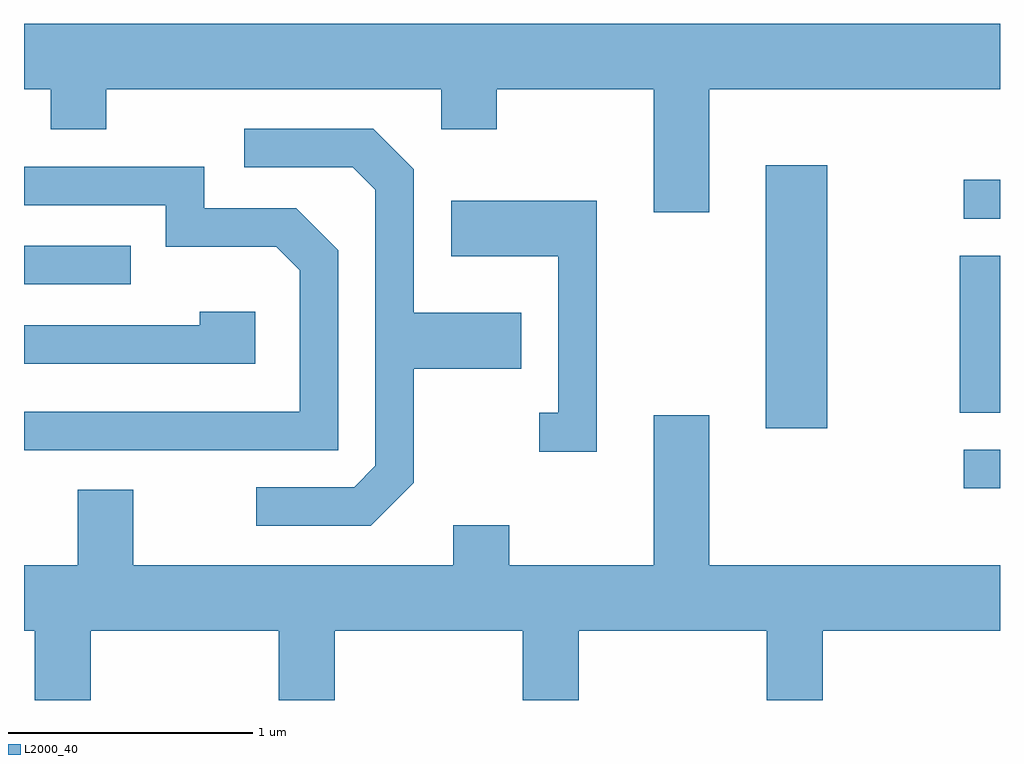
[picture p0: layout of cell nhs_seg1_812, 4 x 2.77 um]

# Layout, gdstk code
import gdstk
lib = gdstk.Library(unit=1e-6, precision=1e-09)
def R(c, l, rs):  # rectangles x0, y0, x1, y1
    for r in rs: c.add(gdstk.rectangle(r[:2], r[2:], *l))
def P(c, l, *ps):  # polygons
    for p in ps: c.add(gdstk.Polygon(p, *l))
L2000_40 = (2000, 40)

nhs_seg1_812 = lib.new_cell('nhs_seg1_812')
R(nhs_seg1_812, L2000_40, [(213.463,924.581,213.611,924.739), (212.651,924.826,212.904,925.904), (213.446,924.891,213.611,925.534), (209.611,925.416,210.048,925.574), (213.463,925.686,213.611,925.844)])
P(nhs_seg1_812, L2000_40, [(212.419,926.216),(213.611,926.216),(213.611,926.484),(209.611,926.484),(209.611,926.216),(209.721,926.216),(209.721,926.051),(209.949,926.051),(209.949,926.216),(211.321,926.216),(211.321,926.051),(211.549,926.051),(211.549,926.216),(212.191,926.216),(212.191,925.711),(212.419,925.711)],
  [(211.209,924.604),(211.209,925.071),(211.649,925.071),(211.649,925.299),(211.209,925.299),(211.209,925.887),(211.042,926.054),(210.513,926.054),(210.513,925.896),(210.959,925.896),(211.051,925.804),(211.051,924.672),(210.964,924.584),(210.563,924.584),(210.563,924.426),(211.032,924.426)],
  [(210.899,925.557),(210.727,925.729),(210.349,925.729),(210.349,925.899),(209.611,925.899),(209.611,925.741),(210.191,925.741),(210.191,925.571),(210.644,925.571),(210.741,925.474),(210.741,924.894),(209.611,924.894),(209.611,924.736),(210.899,924.736)],
  [(211.959,925.759),(211.361,925.759),(211.361,925.531),(211.801,925.531),(211.801,924.889),(211.723,924.889),(211.723,924.731),(211.959,924.731)],
  [(210.559,925.304),(210.331,925.304),(210.331,925.249),(209.611,925.249),(209.611,925.091),(210.559,925.091)],
  [(209.884,923.996),(210.656,923.996),(210.656,923.712),(210.884,923.712),(210.884,923.996),(211.656,923.996),(211.656,923.712),(211.884,923.712),(211.884,923.996),(212.656,923.996),(212.656,923.712),(212.884,923.712),(212.884,923.996),(213.611,923.996),(213.611,924.264),(212.419,924.264),(212.419,924.879),(212.191,924.879),(212.191,924.264),(211.599,924.264),(211.599,924.429),(211.371,924.429),(211.371,924.264),(210.059,924.264),(210.059,924.574),(209.831,924.574),(209.831,924.264),(209.611,924.264),(209.611,923.996),(209.656,923.996),(209.656,923.712),(209.884,923.712)])

lib.write_gds('nhs_seg1_812.gds')
